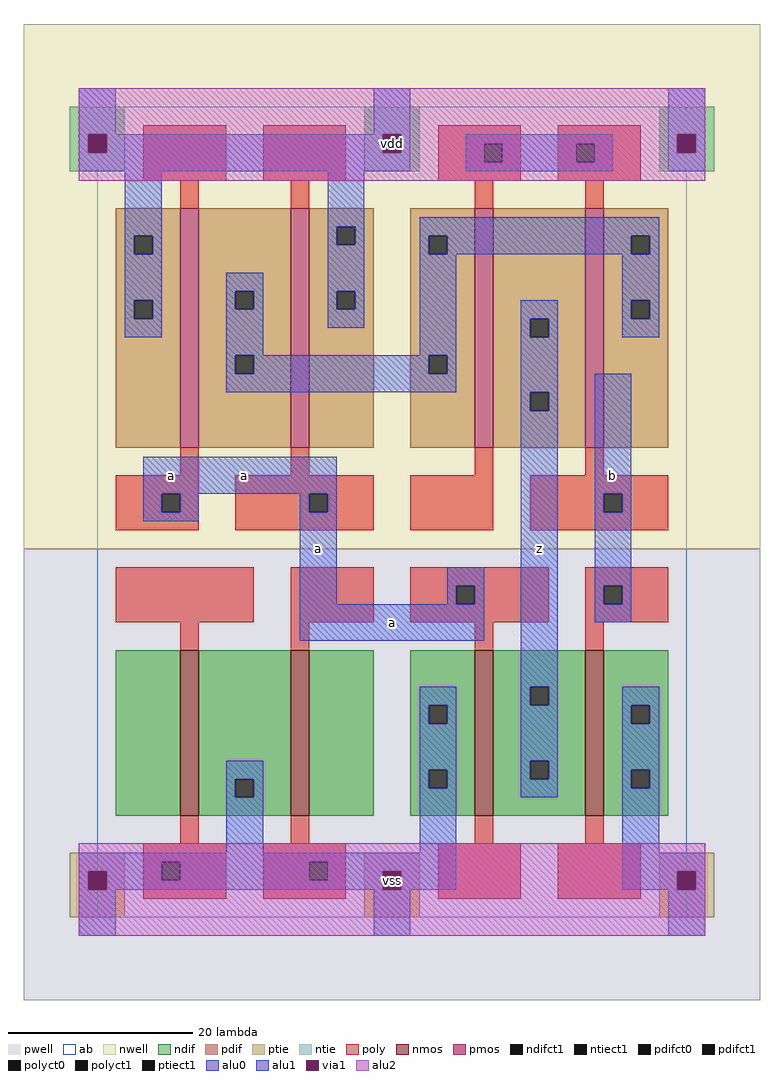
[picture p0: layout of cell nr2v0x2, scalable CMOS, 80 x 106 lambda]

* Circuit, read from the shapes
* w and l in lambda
.subckt nr2v0x2 a b vdd vss z
M1 vss vss n1 vss nfet w=18 l=2
M2 n2 vss vss vss nfet w=18 l=2
M3 z a vss vss nfet w=18 l=2
M4 vss b z vss nfet w=18 l=2
M5 n3 a vdd vdd pfet w=26 l=2 m=2
M6 z b n3 vdd pfet w=26 l=2 m=2
.ends

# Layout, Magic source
magic
tech scmos
<< ab >>
rect 0 0 64 88
<< nwell >>
rect -8 40 72 97
<< pwell >>
rect -8 -9 72 40
<< poly >>
rect 5 80 14 86
rect 18 80 27 86
rect 37 84 46 86
rect 37 82 42 84
rect 44 82 46 84
rect 37 80 46 82
rect 50 84 59 86
rect 50 82 52 84
rect 54 82 59 84
rect 50 80 59 82
rect 9 77 11 80
rect 21 77 23 80
rect 41 77 43 80
rect 53 77 55 80
rect 9 48 11 51
rect 21 48 23 51
rect 41 48 43 51
rect 53 48 55 51
rect 2 46 11 48
rect 2 44 7 46
rect 9 44 11 46
rect 2 42 11 44
rect 15 46 30 48
rect 15 44 23 46
rect 25 44 30 46
rect 15 42 30 44
rect 34 42 43 48
rect 47 46 62 48
rect 47 44 55 46
rect 57 44 62 46
rect 47 42 62 44
rect 2 32 17 38
rect 21 32 30 38
rect 34 36 49 38
rect 34 34 39 36
rect 41 34 49 36
rect 34 32 49 34
rect 53 36 62 38
rect 53 34 55 36
rect 57 34 62 36
rect 53 32 62 34
rect 9 29 11 32
rect 21 29 23 32
rect 41 29 43 32
rect 53 29 55 32
rect 9 8 11 11
rect 21 8 23 11
rect 41 8 43 11
rect 53 8 55 11
rect 5 6 14 8
rect 5 4 7 6
rect 9 4 14 6
rect 5 2 14 4
rect 18 6 27 8
rect 18 4 23 6
rect 25 4 27 6
rect 18 2 27 4
rect 37 2 46 8
rect 50 2 59 8
<< ndif >>
rect 2 11 9 29
rect 11 15 21 29
rect 11 13 15 15
rect 17 13 21 15
rect 11 11 21 13
rect 23 11 30 29
rect 34 23 41 29
rect 34 21 36 23
rect 38 21 41 23
rect 34 16 41 21
rect 34 14 36 16
rect 38 14 41 16
rect 34 11 41 14
rect 43 25 53 29
rect 43 23 47 25
rect 49 23 53 25
rect 43 17 53 23
rect 43 15 47 17
rect 49 15 53 17
rect 43 11 53 15
rect 55 23 62 29
rect 55 21 58 23
rect 60 21 62 23
rect 55 16 62 21
rect 55 14 58 16
rect 60 14 62 16
rect 55 11 62 14
<< pdif >>
rect 2 74 9 77
rect 2 72 4 74
rect 6 72 9 74
rect 2 67 9 72
rect 2 65 4 67
rect 6 65 9 67
rect 2 51 9 65
rect 11 68 21 77
rect 11 66 15 68
rect 17 66 21 68
rect 11 61 21 66
rect 11 59 15 61
rect 17 59 21 61
rect 11 51 21 59
rect 23 75 30 77
rect 23 73 26 75
rect 28 73 30 75
rect 23 68 30 73
rect 23 66 26 68
rect 28 66 30 68
rect 23 51 30 66
rect 34 74 41 77
rect 34 72 36 74
rect 38 72 41 74
rect 34 61 41 72
rect 34 59 36 61
rect 38 59 41 61
rect 34 51 41 59
rect 43 65 53 77
rect 43 63 47 65
rect 49 63 53 65
rect 43 57 53 63
rect 43 55 47 57
rect 49 55 53 57
rect 43 51 53 55
rect 55 74 62 77
rect 55 72 58 74
rect 60 72 62 74
rect 55 67 62 72
rect 55 65 58 67
rect 60 65 62 67
rect 55 51 62 65
<< alu1 >>
rect -2 85 2 90
rect 30 85 34 90
rect 62 85 66 90
rect -2 83 -1 85
rect 1 83 31 85
rect 33 83 34 85
rect -2 81 34 83
rect 62 83 63 85
rect 65 83 66 85
rect 62 81 66 83
rect 3 74 7 81
rect 3 72 4 74
rect 6 72 7 74
rect 3 67 7 72
rect 25 75 29 81
rect 25 73 26 75
rect 28 73 29 75
rect 3 65 4 67
rect 6 65 7 67
rect 3 63 7 65
rect 25 68 29 73
rect 25 66 26 68
rect 28 66 29 68
rect 25 64 29 66
rect 46 65 50 67
rect 46 63 47 65
rect 49 63 50 65
rect 46 57 50 63
rect 46 55 47 57
rect 49 55 50 57
rect 5 46 26 50
rect 5 44 7 46
rect 9 44 11 46
rect 5 43 11 44
rect 22 44 23 46
rect 25 44 26 46
rect 22 34 26 44
rect 38 36 42 38
rect 38 34 39 36
rect 41 34 42 36
rect 22 30 42 34
rect 46 25 50 55
rect 54 46 58 59
rect 54 44 55 46
rect 57 44 58 46
rect 54 36 58 44
rect 54 34 55 36
rect 57 34 58 36
rect 54 32 58 34
rect 35 23 39 25
rect 35 21 36 23
rect 38 21 39 23
rect 14 15 18 17
rect 14 13 15 15
rect 17 13 18 15
rect 14 7 18 13
rect 35 16 39 21
rect 35 14 36 16
rect 38 14 39 16
rect 35 7 39 14
rect 46 23 47 25
rect 49 23 50 25
rect 46 17 50 23
rect 46 15 47 17
rect 49 15 50 17
rect 46 13 50 15
rect 57 23 61 25
rect 57 21 58 23
rect 60 21 61 23
rect 57 16 61 21
rect 57 14 58 16
rect 60 14 61 16
rect -2 6 39 7
rect -2 5 7 6
rect -2 3 -1 5
rect 1 4 7 5
rect 9 4 23 6
rect 25 5 39 6
rect 25 4 31 5
rect 1 3 31 4
rect 33 3 39 5
rect 57 7 61 14
rect 57 5 66 7
rect 57 3 63 5
rect 65 3 66 5
rect -2 -2 2 3
rect 30 -2 34 3
rect 62 -2 66 3
<< alu2 >>
rect -2 85 66 90
rect -2 83 -1 85
rect 1 83 31 85
rect 33 83 63 85
rect 65 83 66 85
rect -2 80 66 83
rect -2 5 66 8
rect -2 3 -1 5
rect 1 3 31 5
rect 33 3 63 5
rect 65 3 66 5
rect -2 -2 66 3
<< ptie >>
rect -3 5 3 7
rect -3 3 -1 5
rect 1 3 3 5
rect -3 0 3 3
rect 29 5 35 7
rect 29 3 31 5
rect 33 3 35 5
rect 29 0 35 3
rect 61 5 67 7
rect 61 3 63 5
rect 65 3 67 5
rect 61 0 67 3
<< ntie >>
rect -3 85 3 88
rect -3 83 -1 85
rect 1 83 3 85
rect -3 81 3 83
rect 29 85 35 88
rect 29 83 31 85
rect 33 83 35 85
rect 29 81 35 83
rect 61 85 67 88
rect 61 83 63 85
rect 65 83 67 85
rect 61 81 67 83
<< nmos >>
rect 9 11 11 29
rect 21 11 23 29
rect 41 11 43 29
rect 53 11 55 29
<< pmos >>
rect 9 51 11 77
rect 21 51 23 77
rect 41 51 43 77
rect 53 51 55 77
<< polyct0 >>
rect 42 82 44 84
rect 52 82 54 84
<< polyct1 >>
rect 7 44 9 46
rect 23 44 25 46
rect 55 44 57 46
rect 39 34 41 36
rect 55 34 57 36
rect 7 4 9 6
rect 23 4 25 6
<< ndifct1 >>
rect 15 13 17 15
rect 36 21 38 23
rect 36 14 38 16
rect 47 23 49 25
rect 47 15 49 17
rect 58 21 60 23
rect 58 14 60 16
<< ntiect1 >>
rect -1 83 1 85
rect 31 83 33 85
rect 63 83 65 85
<< ptiect1 >>
rect -1 3 1 5
rect 31 3 33 5
rect 63 3 65 5
<< pdifct0 >>
rect 15 66 17 68
rect 15 59 17 61
rect 36 72 38 74
rect 36 59 38 61
rect 58 72 60 74
rect 58 65 60 67
<< pdifct1 >>
rect 4 72 6 74
rect 4 65 6 67
rect 26 73 28 75
rect 26 66 28 68
rect 47 63 49 65
rect 47 55 49 57
<< alu0 >>
rect 40 84 56 85
rect 40 82 42 84
rect 44 82 52 84
rect 54 82 56 84
rect 40 81 56 82
rect 14 68 18 70
rect 14 66 15 68
rect 17 66 18 68
rect 14 61 18 66
rect 35 74 61 76
rect 35 72 36 74
rect 38 72 58 74
rect 60 72 61 74
rect 35 61 39 72
rect 57 67 61 72
rect 14 59 15 61
rect 17 59 36 61
rect 38 59 39 61
rect 14 57 39 59
rect 57 65 58 67
rect 60 65 61 67
rect 57 63 61 65
<< via1 >>
rect -1 83 1 85
rect 31 83 33 85
rect 63 83 65 85
rect -1 3 1 5
rect 31 3 33 5
rect 63 3 65 5
<< labels >>
rlabel alu1 8 48 8 48 6 a
rlabel alu1 24 40 24 40 6 a
rlabel alu1 16 48 16 48 6 a
rlabel alu1 32 32 32 32 6 a
rlabel alu1 48 40 48 40 6 z
rlabel alu1 56 48 56 48 6 b
rlabel via1 32 4 32 4 6 vss
rlabel via1 32 84 32 84 6 vdd
<< end >>
